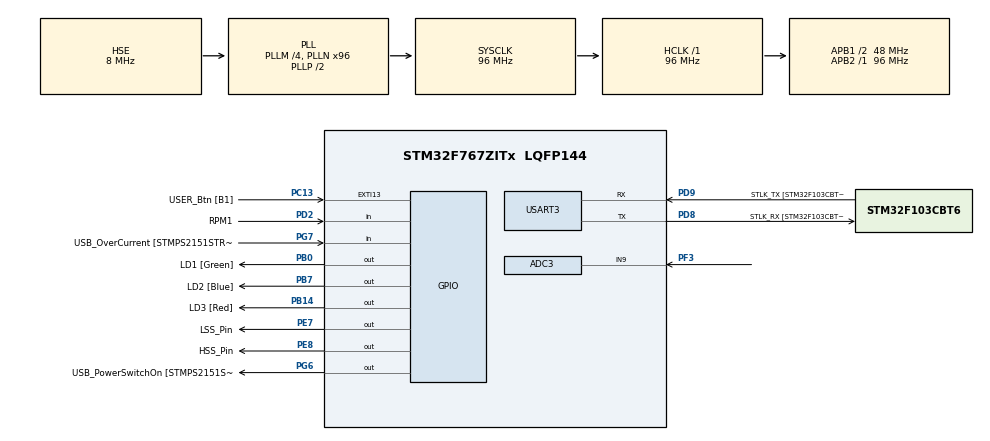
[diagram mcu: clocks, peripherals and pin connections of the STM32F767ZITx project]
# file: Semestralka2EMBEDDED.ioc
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ADC3.Channel-0\#ChannelRegularConversion=ADC_CHANNEL_9
ADC3.ContinuousConvMode=ENABLE
ADC3.DMAContinuousRequests=ENABLE
ADC3.NbrOfConversionFlag=1
ADC3.Rank-0\#ChannelRegularConversion=1
ADC3.SamplingTime-0\#ChannelRegularConversion=ADC_SAMPLETIME_480CYCLES
Dma.ADC3.0.Direction=DMA_PERIPH_TO_MEMORY
Dma.ADC3.0.FIFOMode=DMA_FIFOMODE_DISABLE
Dma.ADC3.0.Instance=DMA2_Stream0
Dma.ADC3.0.MemDataAlignment=DMA_MDATAALIGN_HALFWORD
Dma.ADC3.0.MemInc=DMA_MINC_ENABLE
Dma.ADC3.0.Mode=DMA_CIRCULAR
Dma.ADC3.0.PeriphDataAlignment=DMA_PDATAALIGN_HALFWORD
Dma.ADC3.0.PeriphInc=DMA_PINC_DISABLE
Dma.ADC3.0.Priority=DMA_PRIORITY_LOW
Dma.Request0=ADC3
Mcu.Family=STM32F7
Mcu.Name=STM32F767ZITx
Mcu.Package=LQFP144
NVIC.DMA2_Stream0_IRQn=true\:0\:0\:false\:false\:true\:false\:true
NVIC.PriorityGroup=NVIC_PRIORITYGROUP_4
NVIC.TIM2_IRQn=true\:0\:0\:false\:false\:true\:true\:true
PA1.GPIO_Label=RMII_REF_CLK [LAN8742A-CZ-TR_REFCLK0]
PA1.Signal=ETH_REF_CLK
PA10.GPIO_Label=USB_ID
PA10.Signal=USB_OTG_FS_ID
PA11.GPIO_Label=USB_DM
PA11.Signal=USB_OTG_FS_DM
PA12.GPIO_Label=USB_DP
PA12.Signal=USB_OTG_FS_DP
PA13.GPIO_Label=TMS
PA13.Mode=Serial_Wire
PA13.Signal=SYS_JTMS-SWDIO
PA14.GPIO_Label=TCK
PA14.Mode=Serial_Wire
PA14.Signal=SYS_JTCK-SWCLK
PA2.GPIO_Label=RMII_MDIO [LAN8742A-CZ-TR_MDIO]
PA2.Signal=ETH_MDIO
PA7.GPIO_Label=RMII_CRS_DV [LAN8742A-CZ-TR_CRS_DV]
PA7.Signal=ETH_CRS_DV
PA8.GPIO_Label=USB_SOF [TP1]
PA8.Signal=USB_OTG_FS_SOF
PA9.GPIO_Label=USB_VBUS
PA9.Signal=USB_OTG_FS_VBUS
PB0.GPIO_Label=LD1 [Green]
PB0.Signal=GPIO_Output
PB13.GPIO_Label=RMII_TXD1 [LAN8742A-CZ-TR_TXD1]
PB13.Signal=ETH_TXD1
PB14.GPIO_Label=LD3 [Red]
PB14.Signal=GPIO_Output
PB3.GPIO_Label=SWO
PB3.Signal=SYS_JTDO-SWO
PB7.GPIO_Label=LD2 [Blue]
PB7.Signal=GPIO_Output
PC1.GPIO_Label=RMII_MDC [LAN8742A-CZ-TR_MDC]
PC1.Signal=ETH_MDC
PC13.GPIO_Label=USER_Btn [B1]
PC13.Signal=GPXTI13
PC14/OSC32_IN.Mode=LSE-External-Oscillator
PC14/OSC32_IN.Signal=RCC_OSC32_IN
PC15/OSC32_OUT.Mode=LSE-External-Oscillator
PC15/OSC32_OUT.Signal=RCC_OSC32_OUT
PC4.GPIO_Label=RMII_RXD0 [LAN8742A-CZ-TR_RXD0]
PC4.Signal=ETH_RXD0
PC5.GPIO_Label=RMII_RXD1 [LAN8742A-CZ-TR_RXD1]
PC5.Signal=ETH_RXD1
PD2.GPIO_Label=RPM1
PD2.Signal=GPIO_Input
PD8.GPIO_Label=STLK_RX [STM32F103CBT6_PA3]
PD8.Mode=Asynchronous
PD8.Signal=USART3_TX
PD9.GPIO_Label=STLK_TX [STM32F103CBT6_PA2]
PD9.Mode=Asynchronous
PD9.Signal=USART3_RX
PE7.GPIO_Label=LSS_Pin
PE7.Signal=GPIO_Output
PE8.GPIO_Label=HSS_Pin
PE8.Signal=GPIO_Output
PF3.Mode=IN9
PF3.Signal=ADC3_IN9
PG11.GPIO_Label=RMII_TX_EN [LAN8742A-CZ-TR_TXEN]
PG11.Signal=ETH_TX_EN
PG13.GPIO_Label=RMII_TXD0 [LAN8742A-CZ-TR_TXD0]
PG13.Signal=ETH_TXD0
PG6.GPIO_Label=USB_PowerSwitchOn [STMPS2151STR_EN]
PG6.Signal=GPIO_Output
PG7.GPIO_Label=USB_OverCurrent [STMPS2151STR_FAULT]
PG7.Signal=GPIO_Input
PH0/OSC_IN.GPIO_Label=MCO [STM32F103CBT6_PA8]
PH0/OSC_IN.Mode=HSE-External-Clock-Source
PH0/OSC_IN.Signal=RCC_OSC_IN
PH1/OSC_OUT.Mode=HSE-External-Clock-Source
PH1/OSC_OUT.Signal=RCC_OSC_OUT
ProjectManager.HeapSize=0x200
ProjectManager.StackSize=0x400
ProjectManager.TargetToolchain=STM32CubeIDE
RCC.48MHZClocksFreq_Value=24000000
RCC.AHBFreq_Value=96000000
RCC.APB1CLKDivider=RCC_HCLK_DIV2
RCC.APB1Freq_Value=48000000
RCC.APB1TimFreq_Value=96000000
RCC.APB2Freq_Value=96000000
RCC.APB2TimFreq_Value=96000000
RCC.CortexFreq_Value=96000000
RCC.HCLKFreq_Value=96000000
RCC.HSE_VALUE=8000000
RCC.HSI_VALUE=16000000
RCC.PLLM=4
RCC.PLLMUL=RCC_PLL_MUL9
RCC.PLLN=96
RCC.PLLQ=4
RCC.PLLSourceVirtual=RCC_PLLSOURCE_HSE
RCC.PRESCALERUSB=RCC_USBCLKSOURCE_PLL_DIV1_5
RCC.SYSCLKFreq_VALUE=96000000
RCC.SYSCLKSource=RCC_SYSCLKSOURCE_PLLCLK
RCC.SYSCLKSourceVirtual=RCC_SYSCLKSOURCE_PLLCLK
RCC.USBFreq_Value=48000000
RCC.VCOOutputFreq_Value=192000000
TIM2.Period=4294967295
TIM2.Prescaler=96
USART3.VirtualMode-Asynchronous=VM_ASYNC
VP_TIM2_VS_ClockSourceINT.Mode=Internal
board=NUCLEO-F767ZI

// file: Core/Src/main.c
/* USER CODE BEGIN Header */
/**
  ******************************************************************************
  * @file           : main.c
  * @brief          : Main program body
  ******************************************************************************
  * @attention
  *
  * <h2><center>&copy; Copyright (c) 2021 STMicroelectronics.
  * All rights reserved.</center></h`2>
  *
  * This software component is licensed by ST under BSD 3-Clause license,
  * the "License"; You may not use this file except in compliance with the
  * License. You may obtain a copy of the License at:
  *                        opensource.org/licenses/BSD-3-Clause
  *
  ******************************************************************************
  */
/* USER CODE END Header */
#include "main.h"

ADC_HandleTypeDef hadc3;
DMA_HandleTypeDef hdma_adc3;

TIM_HandleTypeDef htim2;

UART_HandleTypeDef huart3;

/* USER CODE BEGIN PV */
//Výsledek adc konverze - potenciometr
uint32_t potResult = 0;

//Hodnota časovače
uint32_t uSClock = 0;

//Hodnota časovače na poslední hraně enkoderu
uint32_t uSlastPulseTime = 0;

//Hodnota časovače na aktuální hraně enkoderu
uint32_t uStimeNow = 0;

//Rozdíl hodnot časovače mezi hranami
uint32_t uStimeDelta = 108882172;

//Poslední stav senzoru
uint8_t lastPinState = 1;
uint8_t currentPinState = 0;

//Přepočítaná hodnota z potenciometru na očekávanou periodu
uint32_t requestedSpeed = 0;
/* USER CODE END PV */

void SystemClock_Config(void);
static void MX_GPIO_Init(void);
static void MX_USART3_UART_Init(void);
static void MX_DMA_Init(void);
static void MX_ADC3_Init(void);
static void MX_TIM2_Init(void);

int main(void)
{

  /* MCU Configuration--------------------------------------------------------*/

  /* Reset of all peripherals, Initializes the Flash interface and the Systick. */
  HAL_Init();

  /* Configure the system clock */
  SystemClock_Config();

  /* Initialize all configured peripherals */
  MX_GPIO_Init();
  MX_USART3_UART_Init();
  MX_DMA_Init();
  MX_ADC3_Init();
  MX_TIM2_Init();
  /* USER CODE BEGIN 2 */
  //Nastavení automatického zapisování stavu potenciomteru do paměti
  HAL_ADC_Start_DMA(&hadc3, &potResult, 1);
  //Zapnutí časovače - měření v mikrosekundách
  HAL_TIM_Base_Start(&htim2);
  /* USER CODE END 2 */

  /* Infinite loop */
  /* USER CODE BEGIN WHILE */
  while (1)
  {
	  //Přečtění hodnoty časovače
	 uSClock = __HAL_TIM_GET_COUNTER(&htim2);

	 //Vyhodnocení regulátoru
	if(requestedSpeed<uStimeDelta){
		//Motor se točí pomaleji než je nastaveno
		HAL_GPIO_WritePin(HSS_Pin_GPIO_Port, HSS_Pin_Pin, 1);
		HAL_GPIO_WritePin(LSS_Pin_GPIO_Port, LSS_Pin_Pin, 1);

	}
	if(requestedSpeed>uStimeDelta){
		//Motor se točí rychleji než je nastaveno
		HAL_GPIO_WritePin(HSS_Pin_GPIO_Port, HSS_Pin_Pin, 0);
		HAL_GPIO_WritePin(LSS_Pin_GPIO_Port, LSS_Pin_Pin, 0);

	}
	//Přečtení stavu senzoru polohy
	currentPinState = HAL_GPIO_ReadPin(RPM1_GPIO_Port, RPM1_Pin);
	//Nastavení času v aktuálním cyklu
	uStimeNow=uSClock;
	if(currentPinState == 1 && lastPinState == 0){
		// Detekována hrana
		//Uložení stavu senzoru
		lastPinState = 1;
		//Uložení času poslední hrany
		uSlastPulseTime = uStimeNow;

	}
	if(currentPinState == 0){
		//Resetování stavu senzoru
		lastPinState = 0;
	}

	//Vyhodnocení rychlosti otáčení
	uStimeDelta=uStimeNow-uSlastPulseTime;

    /* USER CODE END WHILE */

  }
}

void SystemClock_Config(void)
{
  RCC_OscInitTypeDef RCC_OscInitStruct = {0};
  RCC_ClkInitTypeDef RCC_ClkInitStruct = {0};
  RCC_PeriphCLKInitTypeDef PeriphClkInitStruct = {0};

  /** Configure LSE Drive Capability
  */
  HAL_PWR_EnableBkUpAccess();
  /** Configure the main internal regulator output voltage
  */
  __HAL_RCC_PWR_CLK_ENABLE();
  __HAL_PWR_VOLTAGESCALING_CONFIG(PWR_REGULATOR_VOLTAGE_SCALE3);
  /** Initializes the RCC Oscillators according to the specified parameters
  * in the RCC_OscInitTypeDef structure.
  */
  RCC_OscInitStruct.OscillatorType = RCC_OSCILLATORTYPE_HSE;
  RCC_OscInitStruct.HSEState = RCC_HSE_BYPASS;
  RCC_OscInitStruct.PLL.PLLState = RCC_PLL_ON;
  RCC_OscInitStruct.PLL.PLLSource = RCC_PLLSOURCE_HSE;
  RCC_OscInitStruct.PLL.PLLM = 4;
  RCC_OscInitStruct.PLL.PLLN = 96;
  RCC_OscInitStruct.PLL.PLLP = RCC_PLLP_DIV2;
  RCC_OscInitStruct.PLL.PLLQ = 4;
  RCC_OscInitStruct.PLL.PLLR = 2;
  if (HAL_RCC_OscConfig(&RCC_OscInitStruct) != HAL_OK)
  {
    Error_Handler();
  }
  /** Activate the Over-Drive mode
  */
  if (HAL_PWREx_EnableOverDrive() != HAL_OK)
  {
    Error_Handler();
  }
  /** Initializes the CPU, AHB and APB buses clocks
  */
  RCC_ClkInitStruct.ClockType = RCC_CLOCKTYPE_HCLK|RCC_CLOCKTYPE_SYSCLK
                              |RCC_CLOCKTYPE_PCLK1|RCC_CLOCKTYPE_PCLK2;
  RCC_ClkInitStruct.SYSCLKSource = RCC_SYSCLKSOURCE_PLLCLK;
  RCC_ClkInitStruct.AHBCLKDivider = RCC_SYSCLK_DIV1;
  RCC_ClkInitStruct.APB1CLKDivider = RCC_HCLK_DIV2;
  RCC_ClkInitStruct.APB2CLKDivider = RCC_HCLK_DIV1;

  if (HAL_RCC_ClockConfig(&RCC_ClkInitStruct, FLASH_LATENCY_3) != HAL_OK)
  {
    Error_Handler();
  }
  PeriphClkInitStruct.PeriphClockSelection = RCC_PERIPHCLK_USART3;
  PeriphClkInitStruct.Usart3ClockSelection = RCC_USART3CLKSOURCE_PCLK1;
  if (HAL_RCCEx_PeriphCLKConfig(&PeriphClkInitStruct) != HAL_OK)
  {
    Error_Handler();
  }
}

static void MX_ADC3_Init(void)
{

  ADC_ChannelConfTypeDef sConfig = {0};

  /** Configure the global features of the ADC (Clock, Resolution, Data Alignment and number of conversion)
  */
  hadc3.Instance = ADC3;
  hadc3.Init.ClockPrescaler = ADC_CLOCK_SYNC_PCLK_DIV4;
  hadc3.Init.Resolution = ADC_RESOLUTION_12B;
  hadc3.Init.ScanConvMode = ADC_SCAN_DISABLE;
  hadc3.Init.ContinuousConvMode = ENABLE;
  hadc3.Init.DiscontinuousConvMode = DISABLE;
  hadc3.Init.ExternalTrigConvEdge = ADC_EXTERNALTRIGCONVEDGE_NONE;
  hadc3.Init.ExternalTrigConv = ADC_SOFTWARE_START;
  hadc3.Init.DataAlign = ADC_DATAALIGN_RIGHT;
  hadc3.Init.NbrOfConversion = 1;
  hadc3.Init.DMAContinuousRequests = ENABLE;
  hadc3.Init.EOCSelection = ADC_EOC_SINGLE_CONV;
  if (HAL_ADC_Init(&hadc3) != HAL_OK)
  {
    Error_Handler();
  }
  /** Configure for the selected ADC regular channel its corresponding rank in the sequencer and its sample time.
  */
  sConfig.Channel = ADC_CHANNEL_9;
  sConfig.Rank = ADC_REGULAR_RANK_1;
  sConfig.SamplingTime = ADC_SAMPLETIME_480CYCLES;
  if (HAL_ADC_ConfigChannel(&hadc3, &sConfig) != HAL_OK)
  {
    Error_Handler();
  }

}

static void MX_TIM2_Init(void)
{

  TIM_ClockConfigTypeDef sClockSourceConfig = {0};
  TIM_MasterConfigTypeDef sMasterConfig = {0};

  htim2.Instance = TIM2;
  htim2.Init.Prescaler = 96;
  htim2.Init.CounterMode = TIM_COUNTERMODE_UP;
  htim2.Init.Period = 4294967295;
  htim2.Init.ClockDivision = TIM_CLOCKDIVISION_DIV1;
  htim2.Init.AutoReloadPreload = TIM_AUTORELOAD_PRELOAD_DISABLE;
  if (HAL_TIM_Base_Init(&htim2) != HAL_OK)
  {
    Error_Handler();
  }
  sClockSourceConfig.ClockSource = TIM_CLOCKSOURCE_INTERNAL;
  if (HAL_TIM_ConfigClockSource(&htim2, &sClockSourceConfig) != HAL_OK)
  {
    Error_Handler();
  }
  sMasterConfig.MasterOutputTrigger = TIM_TRGO_RESET;
  sMasterConfig.MasterSlaveMode = TIM_MASTERSLAVEMODE_DISABLE;
  if (HAL_TIMEx_MasterConfigSynchronization(&htim2, &sMasterConfig) != HAL_OK)
  {
    Error_Handler();
  }

}

static void MX_USART3_UART_Init(void)
{

  huart3.Instance = USART3;
  huart3.Init.BaudRate = 115200;
  huart3.Init.WordLength = UART_WORDLENGTH_8B;
  huart3.Init.StopBits = UART_STOPBITS_1;
  huart3.Init.Parity = UART_PARITY_NONE;
  huart3.Init.Mode = UART_MODE_TX_RX;
  huart3.Init.HwFlowCtl = UART_HWCONTROL_NONE;
  huart3.Init.OverSampling = UART_OVERSAMPLING_16;
  huart3.Init.OneBitSampling = UART_ONE_BIT_SAMPLE_DISABLE;
  huart3.AdvancedInit.AdvFeatureInit = UART_ADVFEATURE_NO_INIT;
  if (HAL_UART_Init(&huart3) != HAL_OK)
  {
    Error_Handler();
  }

}

static void MX_DMA_Init(void)
{

  /* DMA controller clock enable */
  __HAL_RCC_DMA2_CLK_ENABLE();

  /* DMA interrupt init */
  /* DMA2_Stream0_IRQn interrupt configuration */
  HAL_NVIC_SetPriority(DMA2_Stream0_IRQn, 0, 0);
  HAL_NVIC_EnableIRQ(DMA2_Stream0_IRQn);

}

static void MX_GPIO_Init(void)
{
  GPIO_InitTypeDef GPIO_InitStruct = {0};

  /* GPIO Ports Clock Enable */
  __HAL_RCC_GPIOC_CLK_ENABLE();
  __HAL_RCC_GPIOF_CLK_ENABLE();
  __HAL_RCC_GPIOH_CLK_ENABLE();
  __HAL_RCC_GPIOA_CLK_ENABLE();
  __HAL_RCC_GPIOB_CLK_ENABLE();
  __HAL_RCC_GPIOE_CLK_ENABLE();
  __HAL_RCC_GPIOD_CLK_ENABLE();
  __HAL_RCC_GPIOG_CLK_ENABLE();

  /*Configure GPIO pin Output Level */
  HAL_GPIO_WritePin(GPIOB, LD1_Pin|LD3_Pin|LD2_Pin, GPIO_PIN_RESET);

  /*Configure GPIO pin Output Level */
  HAL_GPIO_WritePin(GPIOE, LSS_Pin_Pin|HSS_Pin_Pin, GPIO_PIN_RESET);

  /*Configure GPIO pin Output Level */
  HAL_GPIO_WritePin(USB_PowerSwitchOn_GPIO_Port, USB_PowerSwitchOn_Pin, GPIO_PIN_RESET);

  /*Configure GPIO pin : USER_Btn_Pin */
  GPIO_InitStruct.Pin = USER_Btn_Pin;
  GPIO_InitStruct.Mode = GPIO_MODE_IT_RISING;
  GPIO_InitStruct.Pull = GPIO_NOPULL;
  HAL_GPIO_Init(USER_Btn_GPIO_Port, &GPIO_InitStruct);

  /*Configure GPIO pins : RMII_MDC_Pin RMII_RXD0_Pin RMII_RXD1_Pin */
  GPIO_InitStruct.Pin = RMII_MDC_Pin|RMII_RXD0_Pin|RMII_RXD1_Pin;
  GPIO_InitStruct.Mode = GPIO_MODE_AF_PP;
  GPIO_InitStruct.Pull = GPIO_NOPULL;
  GPIO_InitStruct.Speed = GPIO_SPEED_FREQ_VERY_HIGH;
  GPIO_InitStruct.Alternate = GPIO_AF11_ETH;
  HAL_GPIO_Init(GPIOC, &GPIO_InitStruct);

  /*Configure GPIO pins : RMII_REF_CLK_Pin RMII_MDIO_Pin RMII_CRS_DV_Pin */
  GPIO_InitStruct.Pin = RMII_REF_CLK_Pin|RMII_MDIO_Pin|RMII_CRS_DV_Pin;
  GPIO_InitStruct.Mode = GPIO_MODE_AF_PP;
  GPIO_InitStruct.Pull = GPIO_NOPULL;
  GPIO_InitStruct.Speed = GPIO_SPEED_FREQ_VERY_HIGH;
  GPIO_InitStruct.Alternate = GPIO_AF11_ETH;
  HAL_GPIO_Init(GPIOA, &GPIO_InitStruct);

  /*Configure GPIO pins : LD1_Pin LD3_Pin LD2_Pin */
  GPIO_InitStruct.Pin = LD1_Pin|LD3_Pin|LD2_Pin;
  GPIO_InitStruct.Mode = GPIO_MODE_OUTPUT_PP;
  GPIO_InitStruct.Pull = GPIO_NOPULL;
  GPIO_InitStruct.Speed = GPIO_SPEED_FREQ_LOW;
  HAL_GPIO_Init(GPIOB, &GPIO_InitStruct);

  /*Configure GPIO pins : LSS_Pin_Pin HSS_Pin_Pin */
  GPIO_InitStruct.Pin = LSS_Pin_Pin|HSS_Pin_Pin;
  GPIO_InitStruct.Mode = GPIO_MODE_OUTPUT_PP;
  GPIO_InitStruct.Pull = GPIO_NOPULL;
  GPIO_InitStruct.Speed = GPIO_SPEED_FREQ_LOW;
  HAL_GPIO_Init(GPIOE, &GPIO_InitStruct);

  /*Configure GPIO pin : RMII_TXD1_Pin */
  GPIO_InitStruct.Pin = RMII_TXD1_Pin;
  GPIO_InitStruct.Mode = GPIO_MODE_AF_PP;
  GPIO_InitStruct.Pull = GPIO_NOPULL;
  GPIO_InitStruct.Speed = GPIO_SPEED_FREQ_VERY_HIGH;
  GPIO_InitStruct.Alternate = GPIO_AF11_ETH;
  HAL_GPIO_Init(RMII_TXD1_GPIO_Port, &GPIO_InitStruct);

  /*Configure GPIO pin : USB_PowerSwitchOn_Pin */
  GPIO_InitStruct.Pin = USB_PowerSwitchOn_Pin;
  GPIO_InitStruct.Mode = GPIO_MODE_OUTPUT_PP;
  GPIO_InitStruct.Pull = GPIO_NOPULL;
  GPIO_InitStruct.Speed = GPIO_SPEED_FREQ_LOW;
  HAL_GPIO_Init(USB_PowerSwitchOn_GPIO_Port, &GPIO_InitStruct);

  /*Configure GPIO pin : USB_OverCurrent_Pin */
  GPIO_InitStruct.Pin = USB_OverCurrent_Pin;
  GPIO_InitStruct.Mode = GPIO_MODE_INPUT;
  GPIO_InitStruct.Pull = GPIO_NOPULL;
  HAL_GPIO_Init(USB_OverCurrent_GPIO_Port, &GPIO_InitStruct);

  /*Configure GPIO pins : USB_SOF_Pin USB_ID_Pin USB_DM_Pin USB_DP_Pin */
  GPIO_InitStruct.Pin = USB_SOF_Pin|USB_ID_Pin|USB_DM_Pin|USB_DP_Pin;
  GPIO_InitStruct.Mode = GPIO_MODE_AF_PP;
  GPIO_InitStruct.Pull = GPIO_NOPULL;
  GPIO_InitStruct.Speed = GPIO_SPEED_FREQ_VERY_HIGH;
  GPIO_InitStruct.Alternate = GPIO_AF10_OTG_FS;
  HAL_GPIO_Init(GPIOA, &GPIO_InitStruct);

  /*Configure GPIO pin : USB_VBUS_Pin */
  GPIO_InitStruct.Pin = USB_VBUS_Pin;
  GPIO_InitStruct.Mode = GPIO_MODE_INPUT;
  GPIO_InitStruct.Pull = GPIO_NOPULL;
  HAL_GPIO_Init(USB_VBUS_GPIO_Port, &GPIO_InitStruct);

  /*Configure GPIO pin : RPM1_Pin */
  GPIO_InitStruct.Pin = RPM1_Pin;
  GPIO_InitStruct.Mode = GPIO_MODE_INPUT;
  GPIO_InitStruct.Pull = GPIO_NOPULL;
  HAL_GPIO_Init(RPM1_GPIO_Port, &GPIO_InitStruct);

  /*Configure GPIO pins : RMII_TX_EN_Pin RMII_TXD0_Pin */
  GPIO_InitStruct.Pin = RMII_TX_EN_Pin|RMII_TXD0_Pin;
  GPIO_InitStruct.Mode = GPIO_MODE_AF_PP;
  GPIO_InitStruct.Pull = GPIO_NOPULL;
  GPIO_InitStruct.Speed = GPIO_SPEED_FREQ_VERY_HIGH;
  GPIO_InitStruct.Alternate = GPIO_AF11_ETH;
  HAL_GPIO_Init(GPIOG, &GPIO_InitStruct);

}

/* USER CODE BEGIN 4 */
void HAL_ADC_ConvCpltCallback(ADC_HandleTypeDef* hadc){
	//Konverze dokončena, uložení hodnot a nastavení vyžadovaných otáček
	potResult = HAL_ADC_GetValue(hadc);
	requestedSpeed = potResult*2;
}
/* USER CODE END 4 */

void Error_Handler(void)
{
  __disable_irq();
  while (1)
  {
  }
}

/************************ (C) COPYRIGHT STMicroelectronics *****END OF FILE****/
